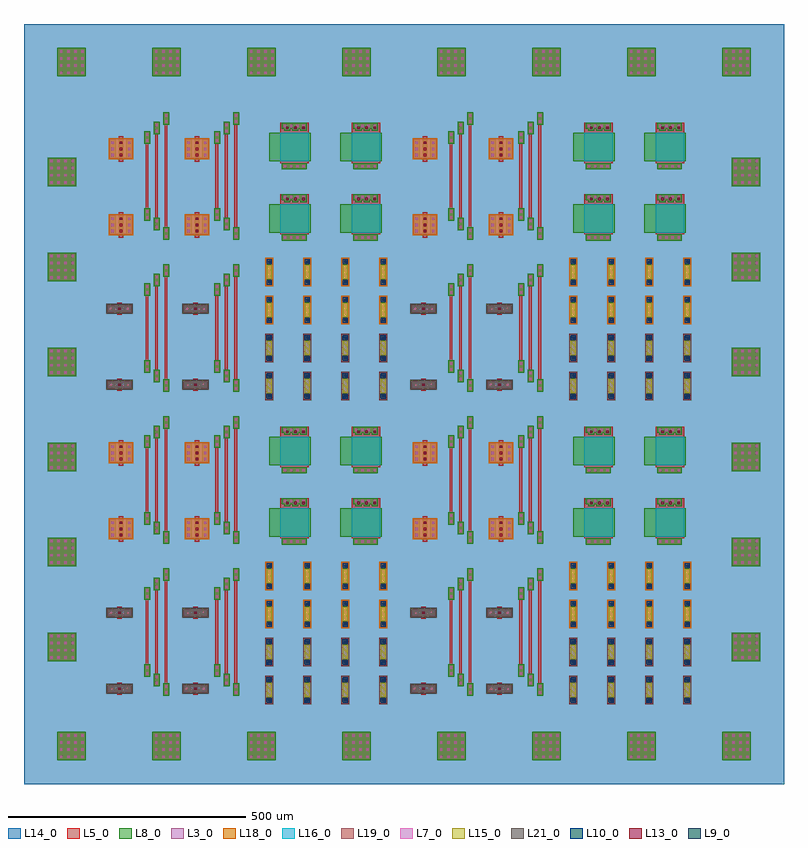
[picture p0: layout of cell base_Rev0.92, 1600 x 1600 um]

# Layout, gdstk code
from math import pi, radians
import gdstk
lib = gdstk.Library(unit=1e-6, precision=1e-07)
def R(c, l, rs):  # rectangles x0, y0, x1, y1
    for r in rs: c.add(gdstk.rectangle(r[:2], r[2:], *l))
L3_0 = (3, 0)
L5_0 = (5, 0)
L7_0 = (7, 0)
L8_0 = (8, 0)
L9_0 = (9, 0)
L10_0 = (10, 0)
L13_0 = (13, 0)
L14_0 = (14, 0)
L15_0 = (15, 0)
L16_0 = (16, 0)
L18_0 = (18, 0)
L19_0 = (19, 0)
L21_0 = (21, 0)

c_16_5x5_flame = lib.new_cell('16_5x5_flame')
R(c_16_5x5_flame, L14_0, [(-800,-800,800,800), (-750,-750,750,750)])

dcont = lib.new_cell('dcont')
R(dcont, L3_0, [(-6.5,-6.5,6.5,6.5)])
R(dcont, L7_0, [(-2.5,-2.5,2.5,2.5)])
R(dcont, L8_0, [(-6.5,-6.5,6.5,6.5)])

pcont_min = lib.new_cell('pcont_min')
R(pcont_min, L5_0, [(-4.5,-6.5,4.5,6.5)])
R(pcont_min, L7_0, [(-2.5,-2.5,2.5,2.5)])
R(pcont_min, L8_0, [(-4.5,-6.5,4.5,6.5)])
R(pcont_min, L13_0, [(-2.5,-2.5,2.5,2.5)])

pch_1 = lib.new_cell('Pch$1')
R(pch_1, L3_0, [(0,17,48,57)])
R(pch_1, L18_0, [(-2,15,50,59)])
pch_1.add(gdstk.FlexPath([(6.5,17),(6.5,57)], 13, ends="flush", simple_path=True, layer=8, datatype=0))  # L8_0
pch_1.add(gdstk.FlexPath([(41.5,17),(41.5,57)], 13, ends="flush", simple_path=True, layer=8, datatype=0))  # L8_0
pch_1.add(gdstk.FlexPath([(24,17),(24,57)], 10, ends=(6.5, 6.5), simple_path=True, layer=5, datatype=0))  # L5_0
pch_1.add(gdstk.Reference(dcont, (6.5,24)))
pch_1.add(gdstk.Reference(dcont, (6.5,37)))
pch_1.add(gdstk.Reference(dcont, (6.5,50)))
pch_1.add(gdstk.Reference(dcont, (41.5,24)))
pch_1.add(gdstk.Reference(dcont, (41.5,37)))
pch_1.add(gdstk.Reference(dcont, (41.5,50)))
pch_1.add(gdstk.Reference(pcont_min, (24,24)))
pch_1.add(gdstk.Reference(pcont_min, (24,37)))
pch_1.add(gdstk.Reference(pcont_min, (24,50)))

tin_m1 = lib.new_cell('tin_M1')
R(tin_m1, L5_0, [(-7,-7,6,6)])
R(tin_m1, L7_0, [(-3,-3,2,2)])
R(tin_m1, L8_0, [(-7,-7,6,6)])

v_tin_line3 = lib.new_cell('V_tin_line3')
v_tin_line3.add(gdstk.FlexPath([(-21,74),(-21,-74)], 6, ends="extended", simple_path=True, layer=5, datatype=0))  # L5_0
v_tin_line3.add(gdstk.FlexPath([(-1,94),(-1,-94)], 6, ends="extended", simple_path=True, layer=5, datatype=0))  # L5_0
v_tin_line3.add(gdstk.FlexPath([(19,114),(19,-114)], 6, ends="extended", simple_path=True, layer=5, datatype=0))  # L5_0
r = gdstk.Reference(tin_m1, (-21,74), rotation=pi); r.repetition = gdstk.Repetition(2, 3, v1=(0,13), v2=(20,20)); v_tin_line3.add(r)
r = gdstk.Reference(tin_m1, (-21,-88), rotation=pi); r.repetition = gdstk.Repetition(2, 3, v1=(0,13), v2=(20,-20)); v_tin_line3.add(r)

pmos_array = lib.new_cell('pmos_array')
R(pmos_array, L14_0, [(-160,-160,160,160)])
r = gdstk.Reference(pch_1, (-140,-140)); r.repetition = gdstk.Repetition(2, 2, v1=(160,0), v2=(0,160)); pmos_array.add(r)
pmos_array.add(gdstk.Reference(v_tin_line3, (-40,0)))
pmos_array.add(gdstk.Reference(v_tin_line3, (107,0)))

nch_1 = lib.new_cell('Nch$1')
R(nch_1, L3_0, [(0,18.5,48,28.5)])
R(nch_1, L19_0, [(-2,15,50,32)])
R(nch_1, L21_0, [(-4,13,52,34)])
nch_1.add(gdstk.FlexPath([(6.5,17),(6.5,30)], 13, ends="flush", simple_path=True, layer=8, datatype=0))  # L8_0
nch_1.add(gdstk.FlexPath([(41.5,17),(41.5,30)], 13, ends="flush", simple_path=True, layer=8, datatype=0))  # L8_0
nch_1.add(gdstk.FlexPath([(24,17),(24,30)], 10, ends=(6.5, 6.5), simple_path=True, layer=5, datatype=0))  # L5_0
nch_1.add(gdstk.Reference(dcont, (6.5,23.5)))
nch_1.add(gdstk.Reference(dcont, (41.5,23.5)))
nch_1.add(gdstk.Reference(pcont_min, (24,23.5)))

nmos_array = lib.new_cell('nmos_array')
R(nmos_array, L14_0, [(-160,-160,160,160)])
r = gdstk.Reference(nch_1, (-143,-143)); r.repetition = gdstk.Repetition(2, 2, v1=(160,0), v2=(0,160)); nmos_array.add(r)
nmos_array.add(gdstk.Reference(v_tin_line3, (-40,0)))
nmos_array.add(gdstk.Reference(v_tin_line3, (107,0)))

via = lib.new_cell('Via')
R(via, L8_0, [(-6.5,-6.5,6.5,6.5)])
R(via, L9_0, [(-2.5,-2.5,2.5,2.5)])
R(via, L10_0, [(-5,-5,5,5)])
R(via, L13_0, [(-2.5,-2.5,2.5,2.5)])

r_ndiff = lib.new_cell('R_ndiff')
R(r_ndiff, L19_0, [(-2,-2,15,58)])
r_ndiff.add(gdstk.FlexPath([(6.5,0),(6.5,56)], 10, ends="flush", simple_path=True, layer=3, datatype=0))  # L3_0
r_ndiff.add(gdstk.FlexPath([(6.5,13),(6.5,43)], 10, ends="flush", simple_path=True, layer=15, datatype=0))  # L15_0
r_ndiff.add(gdstk.Reference(dcont, (6.5,6.5), rotation=pi/2))
r_ndiff.add(gdstk.Reference(via, (6.5,6.5)))
r_ndiff.add(gdstk.Reference(dcont, (6.5,49.5), rotation=pi/2))
r_ndiff.add(gdstk.Reference(via, (6.5,49.5)))

r_pdiff_1 = lib.new_cell('R_pdiff$1')
R(r_pdiff_1, L18_0, [(-2,-2,15,58)])
r_pdiff_1.add(gdstk.FlexPath([(6.5,0),(6.5,56)], 10, ends="flush", simple_path=True, layer=3, datatype=0))  # L3_0
r_pdiff_1.add(gdstk.FlexPath([(6.5,13),(6.5,43)], 10, ends="flush", simple_path=True, layer=15, datatype=0))  # L15_0
r_pdiff_1.add(gdstk.Reference(dcont, (6.5,6.5), rotation=pi/2))
r_pdiff_1.add(gdstk.Reference(via, (6.5,6.5)))
r_pdiff_1.add(gdstk.Reference(dcont, (6.5,49.5), rotation=pi/2))
r_pdiff_1.add(gdstk.Reference(via, (6.5,49.5)))

resistor_array = lib.new_cell('resistor_array')
R(resistor_array, L14_0, [(-160,-160,160,160)])
r = gdstk.Reference(r_ndiff, (-130,-150)); r.repetition = gdstk.Repetition(4, 2, v1=(80,0), v2=(0,80)); resistor_array.add(r)
r = gdstk.Reference(r_pdiff_1, (-130,10)); r.repetition = gdstk.Repetition(4, 2, v1=(80,0), v2=(0,80)); resistor_array.add(r)

pcont = lib.new_cell('pcont')
R(pcont, L5_0, [(-6.5,-6.5,6.5,6.5)])
R(pcont, L7_0, [(-2.5,-2.5,2.5,2.5)])
R(pcont, L8_0, [(-6.5,-6.5,6.5,6.5)])
R(pcont, L13_0, [(-2.5,-2.5,2.5,2.5)])

tin_cap = lib.new_cell('TIN_cap')
R(tin_cap, L5_0, [(23.5,-4,83.5,81)])
R(tin_cap, L8_0, [(0,0,87.5,60)])
R(tin_cap, L16_0, [(23.5,0,83.5,60)])
tin_cap.add(gdstk.Reference(pcont, (38.3,70.5)))
tin_cap.add(gdstk.Reference(pcont, (55.3,70.5)))
tin_cap.add(gdstk.Reference(pcont, (72.3,70.5)))

cap_con = lib.new_cell('cap_con')
cap_con.add(gdstk.Reference(tin_cap, (-44,-39)))
r = gdstk.Reference(tin_m1, (28,35), rotation=pi); r.repetition = gdstk.Repetition(4, 1, v1=(-13,0), v2=(0,0)); cap_con.add(r)
r = gdstk.Reference(tin_m1, (28,-50), rotation=pi); r.repetition = gdstk.Repetition(4, 1, v1=(-13,0), v2=(0,0)); cap_con.add(r)

tin_m1_cap_array = lib.new_cell('tin_m1_cap_array')
R(tin_m1_cap_array, L14_0, [(-160,-160,160,160)])
r = gdstk.Reference(cap_con, (-80,-80)); r.repetition = gdstk.Repetition(2, 2, v1=(150,0), v2=(0,150)); tin_m1_cap_array.add(r)

base_array = lib.new_cell('base_array')
base_array.add(gdstk.Reference(pmos_array, (-160,160)))
base_array.add(gdstk.Reference(nmos_array, (-160,-160)))
base_array.add(gdstk.Reference(resistor_array, (160,-160)))
base_array.add(gdstk.Reference(tin_m1_cap_array, (160,160)))

pad_60_m1_tin = lib.new_cell('pad_60_m1_tin')
R(pad_60_m1_tin, L5_0, [(-30,-30,30,30), (-30,-30,30,30)])
R(pad_60_m1_tin, L8_0, [(-30,-30,30,30)])
r = gdstk.Reference(tin_m1, (22,-23), rotation=pi/2); r.repetition = gdstk.Repetition(4, 4, v1=(0,15), v2=(-15,0)); pad_60_m1_tin.add(r)

base_rev0_92 = lib.new_cell('base_Rev0.92')
base_rev0_92.add(gdstk.Reference(c_16_5x5_flame, (0,0)))
r = gdstk.Reference(base_array, (-320,-320)); r.repetition = gdstk.Repetition(2, 2, v1=(640,0), v2=(0,640)); base_rev0_92.add(r)
r = gdstk.Reference(pad_60_m1_tin, (700,720), rotation=pi/2); r.repetition = gdstk.Repetition(1, 8, v1=(0,0), v2=(-200,0)); base_rev0_92.add(r)
r = gdstk.Reference(pad_60_m1_tin, (700,-720), rotation=pi/2); r.repetition = gdstk.Repetition(1, 8, v1=(0,0), v2=(-200,0)); base_rev0_92.add(r)
r = gdstk.Reference(pad_60_m1_tin, (-720,488), rotation=pi); r.repetition = gdstk.Repetition(1, 6, v1=(0,0), v2=(0,-200)); base_rev0_92.add(r)
r = gdstk.Reference(pad_60_m1_tin, (720,488), rotation=pi); r.repetition = gdstk.Repetition(1, 6, v1=(0,0), v2=(0,-200)); base_rev0_92.add(r)

lib.write_gds('base_Rev0.92.gds')
